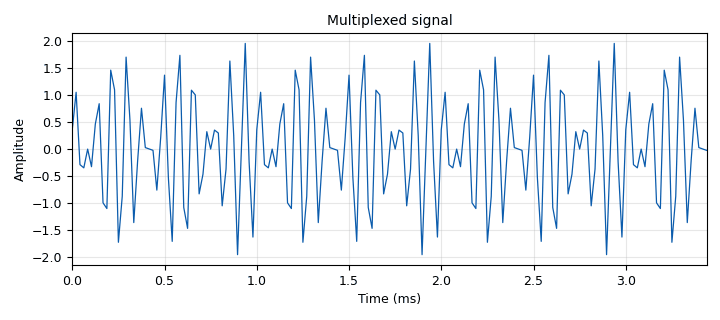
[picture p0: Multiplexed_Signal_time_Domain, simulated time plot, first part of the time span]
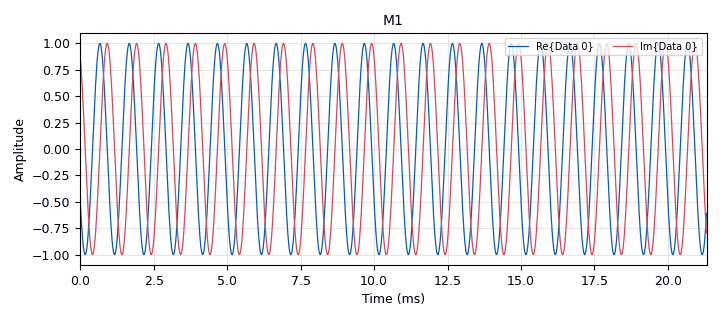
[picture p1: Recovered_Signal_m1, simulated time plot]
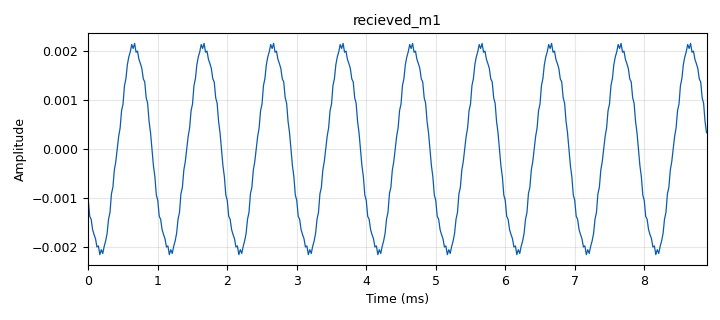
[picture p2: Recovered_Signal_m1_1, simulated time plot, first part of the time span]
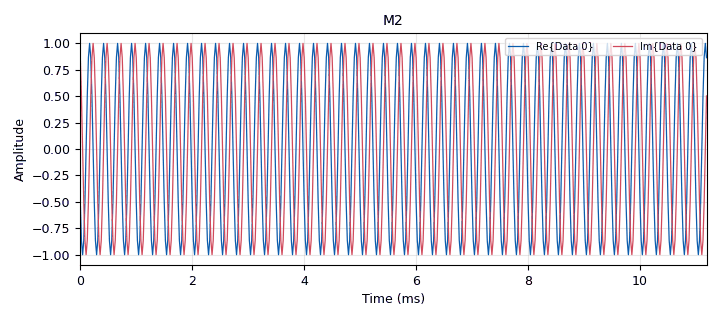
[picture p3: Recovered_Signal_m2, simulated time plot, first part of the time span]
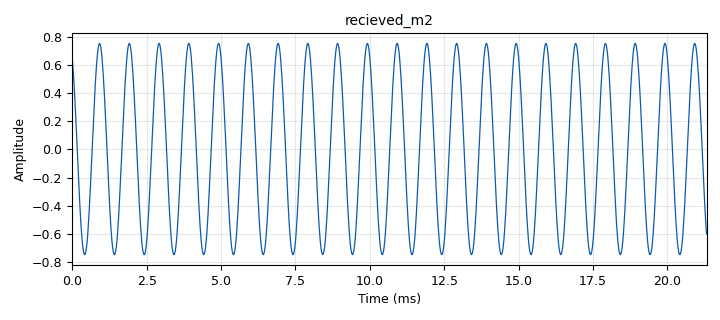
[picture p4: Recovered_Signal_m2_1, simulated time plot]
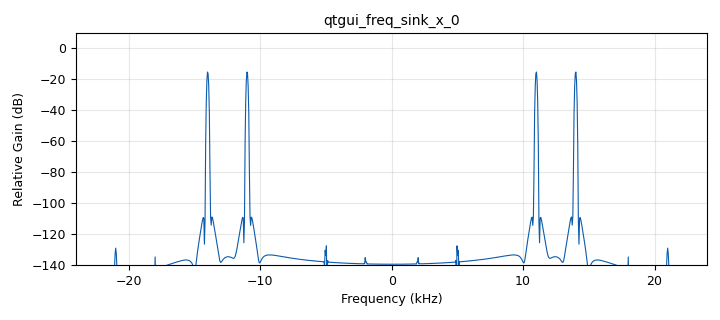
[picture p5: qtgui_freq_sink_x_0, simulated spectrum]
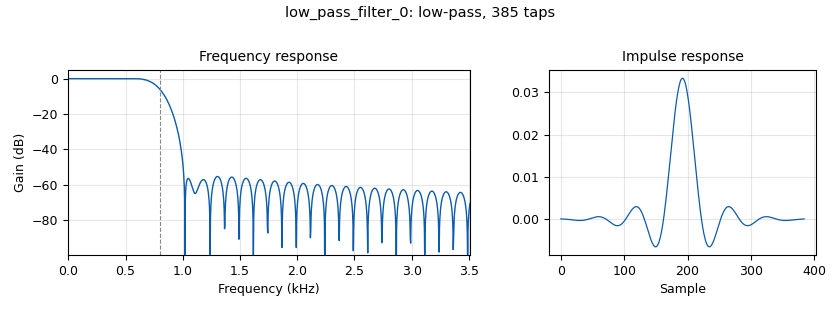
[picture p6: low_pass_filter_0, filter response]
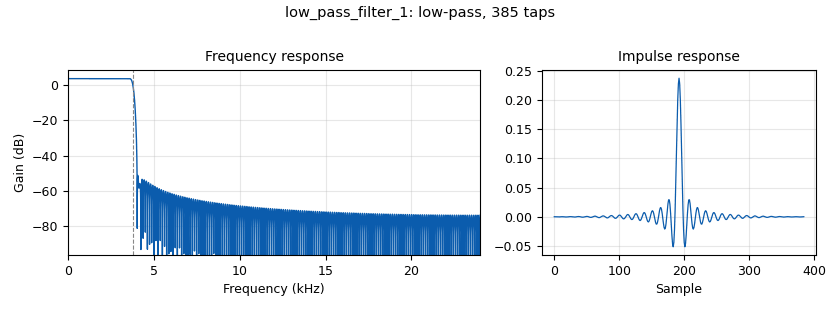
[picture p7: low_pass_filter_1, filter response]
options:
  parameters:
    generate_options: qt_gui
    id: qam_qcm
    output_language: python
    title: Not titled yet
  states: {}

blocks:
- name: samp_rate
  id: variable
  parameters:
    value: '48000'
  states: {}
- name: InPhase_Carrier
  id: analog_sig_source_x
  parameters:
    amp: '1'
    freq: '10000'
    offset: '0'
    phase: '0'
    samp_rate: samp_rate
    type: complex
    waveform: analog.GR_COS_WAVE
  states: {}
- name: Multiplexed_Signal_time_Domain
  id: qtgui_time_sink_x
  parameters:
    autoscale: 'True'
    name: Multiplexed signal
    size: '1024'
    srate: samp_rate
    type: float
  states: {}
- name: Quadrature_Demodulator
  id: blocks_multiply_xx
  parameters:
    type: float
  states: {}
- name: Quadrature_Product_Modulator
  id: blocks_multiply_xx
  parameters:
    type: complex
  states: {}
- name: Recovered_Signal_m1
  id: qtgui_time_sink_x
  parameters:
    alpha1: '1'
    alpha2: '0'
    autoscale: 'True'
    color1: dark blue
    color2: dark blue
    grid: 'True'
    name: M1
    size: '1024'
    srate: samp_rate
    type: complex
  states: {}
- name: Recovered_Signal_m1_1
  id: qtgui_time_sink_x
  parameters:
    autoscale: 'True'
    grid: 'True'
    name: recieved_m1
    size: '1024'
    srate: samp_rate
    type: float
  states: {}
- name: Recovered_Signal_m2
  id: qtgui_time_sink_x
  parameters:
    alpha1: '1'
    alpha2: '0'
    autoscale: 'True'
    color1: red
    color2: dark blue
    grid: 'True'
    name: M2
    size: '1024'
    srate: samp_rate
    type: complex
  states: {}
- name: Recovered_Signal_m2_1
  id: qtgui_time_sink_x
  parameters:
    autoscale: 'True'
    color1: red
    grid: 'True'
    name: recieved_m2
    size: '1024'
    srate: samp_rate
    type: float
  states: {}
- name: blocks_complex_to_real_0_2
  id: blocks_complex_to_real
  parameters: {}
  states: {}
- name: blocks_complex_to_real_0_2_0
  id: blocks_complex_to_real
  parameters: {}
  states: {}
- name: blocks_complex_to_real_0_3
  id: blocks_complex_to_real
  parameters: {}
  states: {}
- name: blocks_throttle2_0
  id: blocks_throttle2
  parameters:
    maximum: '0'
    samples_per_second: samp_rate
    type: float
  states: {}
- name: blocks_throttle2_1_0
  id: blocks_throttle2
  parameters:
    samples_per_second: samp_rate
    type: float
  states: {}
- name: blocks_throttle2_1_1
  id: blocks_throttle2
  parameters:
    samples_per_second: samp_rate
    type: float
  states: {}
- name: blocks_throttle2_2_0
  id: blocks_throttle2
  parameters:
    samples_per_second: samp_rate
    type: complex
  states: {}
- name: blocks_throttle2_2_1
  id: blocks_throttle2
  parameters:
    samples_per_second: samp_rate
    type: complex
  states: {}
- name: blocks_throttle2_2_1_0
  id: blocks_throttle2
  parameters:
    samples_per_second: samp_rate
    type: complex
  states: {}
- name: inPhase_Product_Modulator
  id: blocks_multiply_xx
  parameters:
    type: complex
  states: {}
- name: inphase_Demodulator
  id: blocks_multiply_xx
  parameters:
    type: float
  states: {}
- name: low_pass_filter_0
  id: low_pass_filter
  parameters:
    cutoff_freq: '800'
    decim: '1'
    gain: '1'
    samp_rate: samp_rate
    type: fir_filter_fff
    width: '300'
    win: window.WIN_HAMMING
  states: {}
- name: low_pass_filter_1
  id: low_pass_filter
  parameters:
    cutoff_freq: '3800'
    decim: '1'
    gain: '1.5'
    samp_rate: samp_rate
    type: fir_filter_fff
    width: '300'
    win: window.WIN_HAMMING
  states: {}
- name: m1
  id: analog_sig_source_x
  parameters:
    amp: '1'
    freq: '1000'
    offset: '0'
    phase: '0'
    samp_rate: samp_rate
    type: complex
    waveform: analog.GR_COS_WAVE
  states: {}
- name: m2
  id: analog_sig_source_x
  parameters:
    amp: '1'
    freq: '4000'
    offset: '0'
    phase: '0'
    samp_rate: samp_rate
    type: complex
    waveform: analog.GR_SIN_WAVE
  states: {}
- name: multiplexed_signal
  id: blocks_add_xx
  parameters:
    type: complex
  states: {}
- name: qtgui_freq_sink_x_0
  id: qtgui_freq_sink_x
  parameters:
    bw: samp_rate
    fc: '0'
    fftsize: '1024'
    type: float
  states: {}
- name: quadrature_carrier
  id: blocks_phase_shift
  parameters:
    is_radians: 'False'
    shift: '90'
  states: {}

connections:
- [InPhase_Carrier, '0', blocks_throttle2_2_1_0, '0']
- [Quadrature_Demodulator, '0', low_pass_filter_1, '0']
- [Quadrature_Product_Modulator, '0', multiplexed_signal, '1']
- [blocks_complex_to_real_0_2, '0', Quadrature_Demodulator, '0']
- [blocks_complex_to_real_0_2, '0', blocks_throttle2_0, '0']
- [blocks_complex_to_real_0_2, '0', inphase_Demodulator, '1']
- [blocks_complex_to_real_0_2_0, '0', Quadrature_Demodulator, '1']
- [blocks_complex_to_real_0_3, '0', inphase_Demodulator, '0']
- [blocks_throttle2_0, '0', Multiplexed_Signal_time_Domain, '0']
- [blocks_throttle2_0, '0', qtgui_freq_sink_x_0, '0']
- [blocks_throttle2_1_0, '0', Recovered_Signal_m2_1, '0']
- [blocks_throttle2_1_1, '0', Recovered_Signal_m1_1, '0']
- [blocks_throttle2_2_0, '0', Quadrature_Product_Modulator, '0']
- [blocks_throttle2_2_0, '0', Recovered_Signal_m2, '0']
- [blocks_throttle2_2_1, '0', Recovered_Signal_m1, '0']
- [blocks_throttle2_2_1, '0', inPhase_Product_Modulator, '1']
- [blocks_throttle2_2_1_0, '0', blocks_complex_to_real_0_3, '0']
- [blocks_throttle2_2_1_0, '0', inPhase_Product_Modulator, '0']
- [blocks_throttle2_2_1_0, '0', quadrature_carrier, '0']
- [inPhase_Product_Modulator, '0', multiplexed_signal, '0']
- [inphase_Demodulator, '0', low_pass_filter_0, '0']
- [low_pass_filter_0, '0', blocks_throttle2_1_1, '0']
- [low_pass_filter_1, '0', blocks_throttle2_1_0, '0']
- [m1, '0', blocks_throttle2_2_1, '0']
- [m2, '0', blocks_throttle2_2_0, '0']
- [multiplexed_signal, '0', blocks_complex_to_real_0_2, '0']
- [quadrature_carrier, '0', Quadrature_Product_Modulator, '1']
- [quadrature_carrier, '0', blocks_complex_to_real_0_2_0, '0']

metadata:
  file_format: 1
  grc_version: 3.10.10.0
